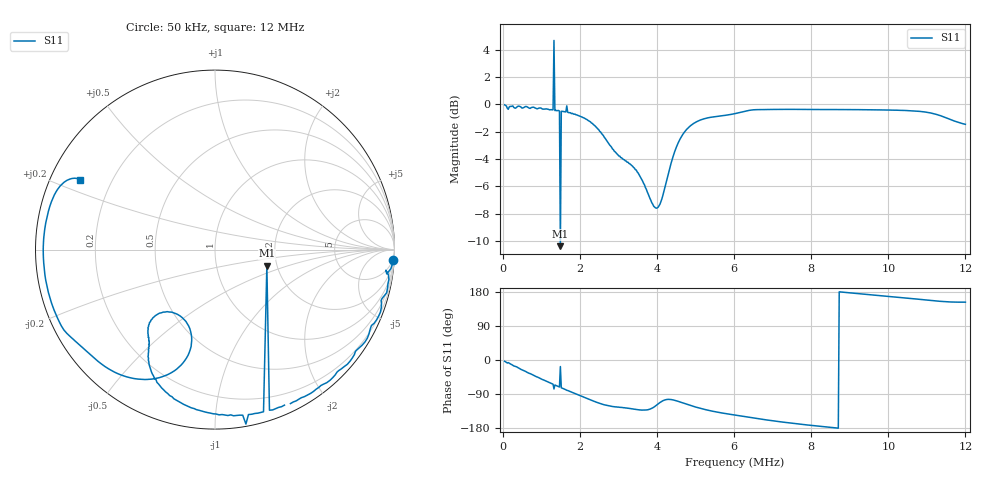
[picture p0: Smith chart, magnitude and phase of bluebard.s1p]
# Hz S RI R 50
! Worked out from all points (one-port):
!   505 points, 50 kHz to 12 MHz, reference 50 ohm
!   lowest |S11| = -10.4 dB at 1.496 MHz (marker M1), VSWR 1.87, Z = 88.4 - j17.5 ohm
!   |S11| at or under -10 dB: 1.495386 MHz to 1.497216 MHz (1.831 kHz wide, 0.122 % of centre)
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50000  0.9941 -0.0574
595300  0.8487 -0.4938
1259200  0.4525 -0.8427
1282900  0.4368 -0.8485
1377700  0.3711 -0.8751
1401400  0.3534 -0.8794
1425100  0.3396 -0.8854
1448800  0.3216 -0.8932
1496300  0.2889 -0.0901
1543700  0.2564 -0.907
1567400  0.2392 -0.9112
1994200  -0.0574 -0.9042
2421000  -0.2971 -0.7708
2681810  -0.3654 -0.6463
3061110  -0.3658 -0.5232
3559010  -0.3651 -0.4065
3914710  -0.2421 -0.3482
4056910  -0.1732 -0.3889
4246610  -0.1298 -0.5064
4554810  -0.2396 -0.6837
4815710  -0.3894 -0.7239
5218720  -0.5686 -0.678
6024920  -0.7606 -0.526
7542330  -0.9351 -0.2103
9036030  -0.9551 0.0515
1.052974e7  -0.9061 0.2797
1.135964e7  -0.8214 0.3874
1.199984e7  -0.7504 0.3886
